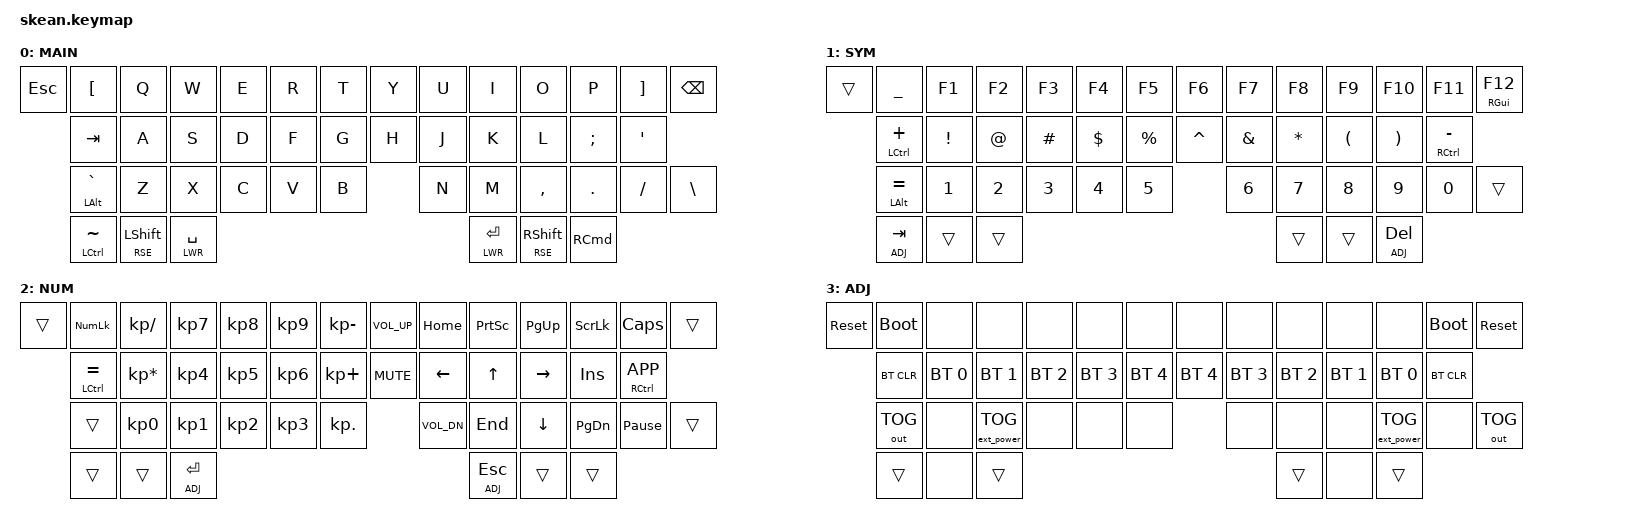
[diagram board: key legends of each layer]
/*
 * Copyright (c) 2020 The ZMK Contributors
 *
 * SPDX-License-Identifier: MIT
 */

#include <behaviors.dtsi>
#include <dt-bindings/zmk/keys.h>
#include <dt-bindings/zmk/bt.h>
#include <dt-bindings/zmk/ext_power.h>
#include <dt-bindings/zmk/outputs.h>

#define DEF 0
#define LWR 1
#define RSE 2
#define ADJ 3

&lt { quick-tap-ms = <200>; };
&mt { quick-tap-ms = <200>; };

/ {
        keymap {
                compatible = "zmk,keymap";

                default_layer {
                        display-name = "MAIN";
// -------------------------------------------------------------------------------------------------
// | ESC |  [   |  Q  |  W  |   E  |  R  |  T  |     |  Y  |  U   |  I  |  O  |  P  |  ]   | BKSP |
//       | TAB  |  A  |  S  |   D  |  F  |  G  |     |  H  |  J   |  K  |  L  |  ;  |  '   |
//       | LALT |  Z  |  X  |   C  |  V  |  B  |     |  N  |  M   |  ,  |  .  |  /  |  \   |
//                          | CTRL | RSE | LWR |     | LWR | RSE  | CMD |
                        bindings = <
  &kp ESC &kp LBKT &kp Q &kp W &kp E &kp R &kp T     &kp Y &kp U  &kp I     &kp O   &kp P    &kp RBKT &kp BSPC
          &kp TAB  &kp A &kp S &kp D &kp F &kp G     &kp H &kp J  &kp K     &kp L   &kp SEMI &kp SQT
          &mt LALT GRAVE &kp Z &kp X &kp C &kp V &kp B     &kp N &kp M  &kp COMMA &kp DOT &kp FSLH &kp BSLH
           &mt LCTRL TILDE &lt RSE LSHFT &lt LWR SPACE     &lt LWR RET &lt RSE RSHFT &kp RCMD
                        >;
                };
                lower_layer {
                        display-name = "SYM";
// -----------------------------------------------------------------------------------------
// |     |  _  |  F1 |  F2 |  F3 |  F4 |  F5 |   |  F6 |  F7 |  F8 |  F9 | F10 | F11 | F12 |
//       |  +  |  !  |  @  |  #  |  $  |  %  |   |  ^  |  &  |  *  |  (  |  )  |  -  |
//       |  =  |  1  |  2  |  3  |  4  |  5  |   |  6  |  7  |  8  |  9  |  0  |     |
//                    | GUI |     | SPC |   | ENT |     | ALT |
                        bindings = <
   &trans &kp UNDER      &kp F1   &kp F2 &kp F3   &kp F4   &kp F5           &kp F6    &kp F7   &kp F8   &kp F9   &kp F10  &kp F11 &mt RGUI F12
          &mt LCTRL PLUS &kp EXCL &kp AT &kp HASH &kp DLLR &kp PRCNT        &kp CARET &kp AMPS &kp STAR &kp LPAR &kp RPAR &mt RCTRL MINUS
          &mt LALT EQUAL &kp N1   &kp N2 &kp N3   &kp N4   &kp N5           &kp N6    &kp N7   &kp N8   &kp N9   &kp N0   &trans
                                              &lt ADJ TAB &trans &trans   &trans &trans &lt ADJ DEL
                        >;
                };

                raise_layer {
                        display-name = "NUM";
// -----------------------------------------------------------------------------------------
// |     | NMLK |  /  |  7  |  8  |  9  |  -  |   | VOLU| HOME| PRSC| PGUP| SCLK| CLCK|     |
//       | CTRL |  *  |  4  |  5  |  6  |  +  |   | MUT | LEFT|  UP | RGHT| INS | APP |
//       |      |  0  |  1  |  2  |  3  |  .  |   | VOLD| END | DOWN| PGDN| PAUS|     |
//                          |     |     | ADJ |   | ADJ |     |     |
                        bindings = <
   &trans &kp KP_NUM      &kp KP_SLASH    &kp KP_N7 &kp KP_N8 &kp KP_N9 &kp KP_MINUS        &kp C_VOL_UP &kp HOME &kp PSCRN &kp PG_UP &kp SLCK &kp CAPS &trans
          &mt LCTRL EQUAL &kp KP_MULTIPLY &kp KP_N4 &kp KP_N5 &kp KP_N6 &kp KP_PLUS         &kp C_MUTE   &kp LEFT &kp UP    &kp RIGHT &kp INS  &mt RCTRL K_APP
          &trans          &kp KP_N0       &kp KP_N1 &kp KP_N2 &kp KP_N3 &kp KP_DOT          &kp C_VOL_DN &kp END  &kp DOWN  &kp PG_DN &kp PAUSE_BREAK &trans
                                                           &trans &trans &lt ADJ RET   &lt ADJ ESC &trans &trans
                        >;
                };
                adjust_layer {
                        label = "ADJ";
// -----------------------------------------------------------------------------------------
// | RST | BLDR |     |     |     |     |     |   |     |     |     |     |     | BLDR | RST |
//       | BTCLR| BT0 | BT1 | BT2 | BT3 | BT4 |   | BT4 | BT3 | BT2 | BT1 | BT0 | BTCLR|
//       |      |     |     |     |     |     |   |     |     |     |     |     |      |
//                          |     |     |     |   |     |     |     |
                        bindings = <
   &sys_reset &bootloader  &none        &none             &none        &none        &none              &none        &none        &none        &none             &none         &bootloader &sys_reset
              &bt BT_CLR   &bt BT_SEL 0 &bt BT_SEL 1      &bt BT_SEL 2 &bt BT_SEL 3 &bt BT_SEL 4       &bt BT_SEL 4 &bt BT_SEL 3 &bt BT_SEL 2 &bt BT_SEL 1      &bt BT_SEL 0  &bt BT_CLR
              &out OUT_TOG &none     &ext_power EP_TOG &none        &none        &none              &none        &none        &none        &ext_power EP_TOG &none      &out OUT_TOG
                                                                        &trans &none &trans   &trans &none &trans
                        >;
                };
        };
};
